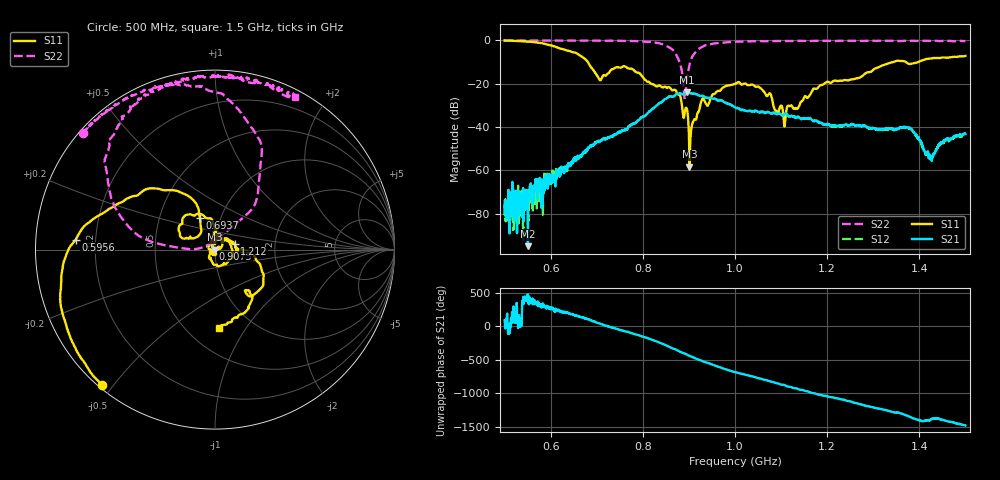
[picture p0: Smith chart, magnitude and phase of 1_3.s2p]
!Agilent Technologies,E8364B,US42250235,A.06.04.32
!Agilent E8364B: A.06.04.32
!Date: Friday, January 15, 2021 14:46:02
!Correction: S11(Full 2 Port(1,2)) S21(Full 2 Port(1,2)) S12(Full 2 Port(1,2)) S22(Full 2 Port(1,2))
!S2P File: Measurements: S11, S21, S12, S22:
# Hz S  dB  R 50
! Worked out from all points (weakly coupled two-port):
!   1601 points, 500 MHz to 1.5 GHz, reference 50 ohm
!   highest |S21| = -24.07 dB at 895.6 MHz (marker M1); lowest = -94.9 dB at 550.6 MHz (marker M2)
!   lowest |S11| = -58.3 dB at 901.2 MHz (marker M3), VSWR 1.00, Z = 50.1 - j0.0795 ohm
!   |S11| at or under -10 dB: 680.3 MHz to 1.344 GHz (664.2 MHz wide, 65.6 % of centre); 1.37 GHz to 1.398 GHz (28.23 MHz wide, 2.04 % of centre)
!   |S22| runs from -27.2 to -0.1 dB; largest |S21 - S12| = 0.004
!   S11 on the Smith chart (normalised r, x): 500 MHz: 0.01, -0.47; 595.6 MHz: 0.12, +0.03; 693.8 MHz: 0.80, +0.29; 907.5 MHz: 0.98, +0.01; 1.212 GHz: 1.24, +0.07; 1.5 GHz: 0.71, -0.76
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5e8  -0.15 -129.9  -76.15 88.1  -73.52 65.2  -0.15 138.5
5.50625e8  -0.68 -154.8  -94.91 113.0  -77.09 11.9  -0.17 134.2
5.95625e8  -2.17 176.0  -62.94 -66.0  -64.77 -95.7  -0.16 130.0
6.66875e8  -7.46 128.6  -52.84 134.8  -53.60 137.0  -0.20 121.6
6.9375e8  -14.12 115.3  -48.08 70.8  -48.07 74.4  -0.22 118.4
7.6125e8  -12.06 128.7  -41.11 -77.7  -41.40 -73.9  -0.36 108.9
8.3375e8  -20.97 96.0  -29.38 122.0  -29.36 124.7  -1.35 86.2
8.73125e8  -23.89 43.7  -24.69 5.3  -24.71 7.0  -7.04 56.7
8.89375e8  -35.42 33.2  -24.74 -43.8  -24.81 -42.0  -24.37 79.4
8.95625e8  -31.74 24.9  -24.07 -63.8  -24.04 -61.6  -18.27 178.9
9.0125e8  -58.32 -40.9  -24.41 -81.9  -24.42 -80.8  -11.40 175.3
9.075e8  -38.53 151.7  -24.58 -100.4  -24.63 -98.0  -7.50 170.2
9.29375e8  -26.98 106.3  -25.60 -159.7  -25.91 -158.0  -2.99 147.4
1e9  -20.18 -5.9  -30.98 34.1  -30.69 36.5  -0.74 120.9
1.05375e9  -21.89 -97.5  -33.29 -58.5  -33.06 -57.0  -0.47 111.6
1.1075e9  -39.79 -118.2  -34.03 -158.8  -34.20 -157.9  -0.40 105.3
1.166875e9  -23.65 81.8  -36.69 83.0  -36.86 88.1  -0.35 97.4
1.2125e9  -18.97 15.0  -39.23 16.4  -39.81 17.1  -0.27 94.1
1.33375e9  -10.66 -25.6  -40.75 174.4  -41.26 -178.8  -0.30 79.4
1.38e9  -10.99 -53.4  -40.49 85.9  -40.71 79.4  -0.29 75.8
1.425e9  -8.42 -61.1  -54.41 53.1  -54.03 41.5  -0.32 71.3
1.5e9  -7.24 -87.2  -43.24 -41.6  -43.23 -48.4  -0.38 62.3
